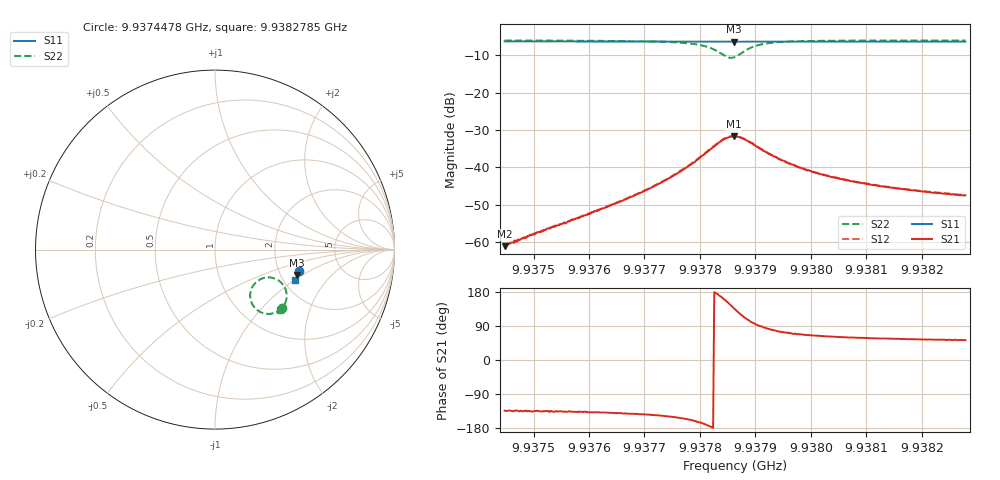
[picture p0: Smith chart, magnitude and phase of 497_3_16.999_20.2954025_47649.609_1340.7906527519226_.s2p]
#  HZ  S  RI  R  50.00
! Rohde & Schwarz Vector Network Analyzer
! Rohde-Schwarz,ZNB20-2Port,1311601062101988,3.16
! Created: UTC 3/20/2024, 11:14:21 PM
! freq[Hz]  re:S11  im:S11  re:S21  im:S21  re:S12  im:S12  re:S22  im:S22
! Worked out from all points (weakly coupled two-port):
!   401 points, 9.9374478 GHz to 9.9382785 GHz, reference 50 ohm
!   highest |S21| = -31.69 dB at 9.9378611 GHz (marker M1); lowest = -61.0 dB at 9.9374478 GHz (marker M2)
!   lowest |S11| = -6.4 dB at 9.9378611 GHz (marker M3), VSWR 2.83, Z = 122 - j45.3 ohm
!   |S11| at or under -10 dB: nowhere
!   |S22| runs from -10.7 to -6.1 dB; largest |S21 - S12| = 0.0011
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9.9374478e9  0.4683 -0.1183  -0.000613 -0.000641  -0.000643 -0.000647  0.3743 -0.3267
9.93752257e9  0.4666 -0.1233  -0.00105 -0.00106  -0.00106 -0.00103  0.367 -0.3329
9.93758695e9  0.4651 -0.1274  -0.0016 -0.00151  -0.00166 -0.00149  0.3587 -0.3389
9.93766587e9  0.4633 -0.1328  -0.00289 -0.00236  -0.00298 -0.00234  0.3435 -0.3478
9.93772609e9  0.4616 -0.1368  -0.00508 -0.00334  -0.00518 -0.00329  0.3224 -0.3552
9.93777178e9  0.4601 -0.1401  -0.00865 -0.00405  -0.00883 -0.00399  0.2906 -0.358
9.93781124e9  0.4582 -0.1426  -0.0155 -0.00256  -0.0159 -0.00236  0.2367 -0.3381
9.93782578e9  0.4574 -0.1433  -0.0189 0.00035  -0.0195 0.000759  0.2109 -0.3097
9.93784031e9  0.4565 -0.1437  -0.0221 0.00617  -0.0224 0.00688  0.1958 -0.2594
9.93785278e9  0.4562 -0.1435  -0.0216 0.0135  -0.0217 0.0142  0.2103 -0.2043
9.93786108e9  0.4561 -0.1434  -0.0189 0.0179  -0.0187 0.0186  0.2383 -0.174
9.93786316e9  0.4562 -0.1435  -0.0179 0.0186  -0.0177 0.0195  0.2472 -0.1684
9.93787354e9  0.4566 -0.1436  -0.0125 0.0216  -0.012 0.0223  0.294 -0.1548
9.93788808e9  0.4571 -0.1444  -0.00578 0.0213  -0.00493 0.0217  0.348 -0.1682
9.937913e9  0.4572 -0.1465  0.000708 0.017  0.00143 0.017  0.3899 -0.2136
9.93795454e9  0.4566 -0.1497  0.00358 0.0113  0.00379 0.0114  0.3993 -0.2637
9.9379753e9  0.4563 -0.1513  0.00382 0.00947  0.00383 0.00949  0.3974 -0.2785
9.9380023e9  0.4555 -0.1533  0.0037 0.00792  0.00392 0.00795  0.3934 -0.2922
9.93806668e9  0.454 -0.1575  0.0034 0.00579  0.00354 0.00576  0.3848 -0.3113
9.93814145e9  0.4518 -0.1625  0.00298 0.0045  0.00314 0.0045  0.376 -0.3244
9.93822244e9  0.4496 -0.1678  0.00274 0.0037  0.00283 0.00371  0.3687 -0.3335
9.93827851e9  0.4481 -0.1713  0.00258 0.00336  0.00264 0.00334  0.3642 -0.3388
